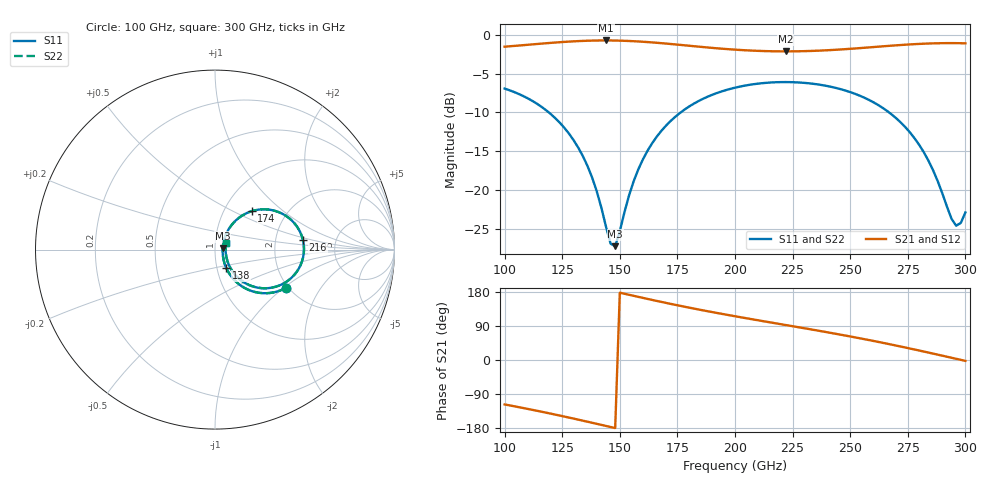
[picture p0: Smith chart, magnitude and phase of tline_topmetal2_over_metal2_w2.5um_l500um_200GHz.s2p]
#  GHZ S DB R 50
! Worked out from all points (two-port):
!   101 points, 100 GHz to 300 GHz, reference 50 ohm
!   highest |S21| = -0.74 dB at 144 GHz (marker M1); lowest = -2.1 dB at 222 GHz (marker M2)
!   |S21| within 3 dB of the highest: start of sweep to end of sweep
!   lowest |S11| = -27.2 dB at 148 GHz (marker M3), VSWR 1.09, Z = 54.5 + j0.814 ohm
!   |S11| at or under -10 dB: 119.2 GHz to 176.4 GHz (57.25 GHz wide, 38.7 % of centre); 266.9 GHz to end of sweep
!   |S22| runs from -27.2 to -6.1 dB; largest |S21 - S12| = 1.1e-14
!   S11 on the Smith chart (normalised r, x): 100 GHz: 1.95, -1.04; 138 GHz: 1.11, -0.23; 174 GHz: 1.34, +0.63; 216 GHz: 2.89, +0.39; 300 GHz: 1.13, +0.08
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100  -6.93 -28.1  -1.54 -117.3  -1.54 -117.3  -6.93 -28.1
120  -10.20 -48.4  -1.05 -141.5  -1.05 -141.5  -10.20 -48.4
128  -12.75 -55.7  -0.88 -152.0  -0.88 -152.0  -12.76 -55.6
134  -15.64 -59.1  -0.79 -160.2  -0.79 -160.2  -15.64 -59.0
138  -18.39 -58.6  -0.76 -165.7  -0.76 -165.7  -18.39 -58.5
144  -24.70 -40.2  -0.74 -174.0  -0.74 -174.0  -24.68 -40.1
146  -26.90 -19.5  -0.74 -176.8  -0.74 -176.8  -26.86 -19.4
148  -27.22 9.9  -0.75 -179.6  -0.75 -179.6  -27.17 9.8
154  -20.69 52.2  -0.80 172.1  -0.80 172.1  -20.68 52.1
158  -17.35 56.1  -0.87 166.6  -0.87 166.6  -17.35 56.0
168  -12.39 51.6  -1.08 153.3  -1.08 153.3  -12.39 51.6
174  -10.58 46.4  -1.24 145.7  -1.24 145.7  -10.58 46.3
186  -8.26 34.7  -1.58 131.2  -1.58 131.2  -8.27 34.7
200  -6.82 21.1  -1.92 115.5  -1.92 115.5  -6.82 21.1
216  -6.14 6.0  -2.12 98.5  -2.12 98.5  -6.14 6.0
222  -6.09 0.4  -2.14 92.3  -2.14 92.3  -6.10 0.4
234  -6.32 -10.8  -2.08 79.7  -2.08 79.7  -6.32 -10.8
252  -7.59 -28.0  -1.77 59.8  -1.77 59.8  -7.60 -28.0
268  -10.26 -43.0  -1.40 40.5  -1.40 40.5  -10.26 -42.9
282  -15.15 -51.5  -1.15 22.2  -1.15 22.2  -15.15 -51.3
296  -24.58 -4.1  -1.08 3.2  -1.08 3.2  -24.47 -3.8
300  -22.88 30.9  -1.10 -2.3  -1.10 -2.3  -22.78 30.6
